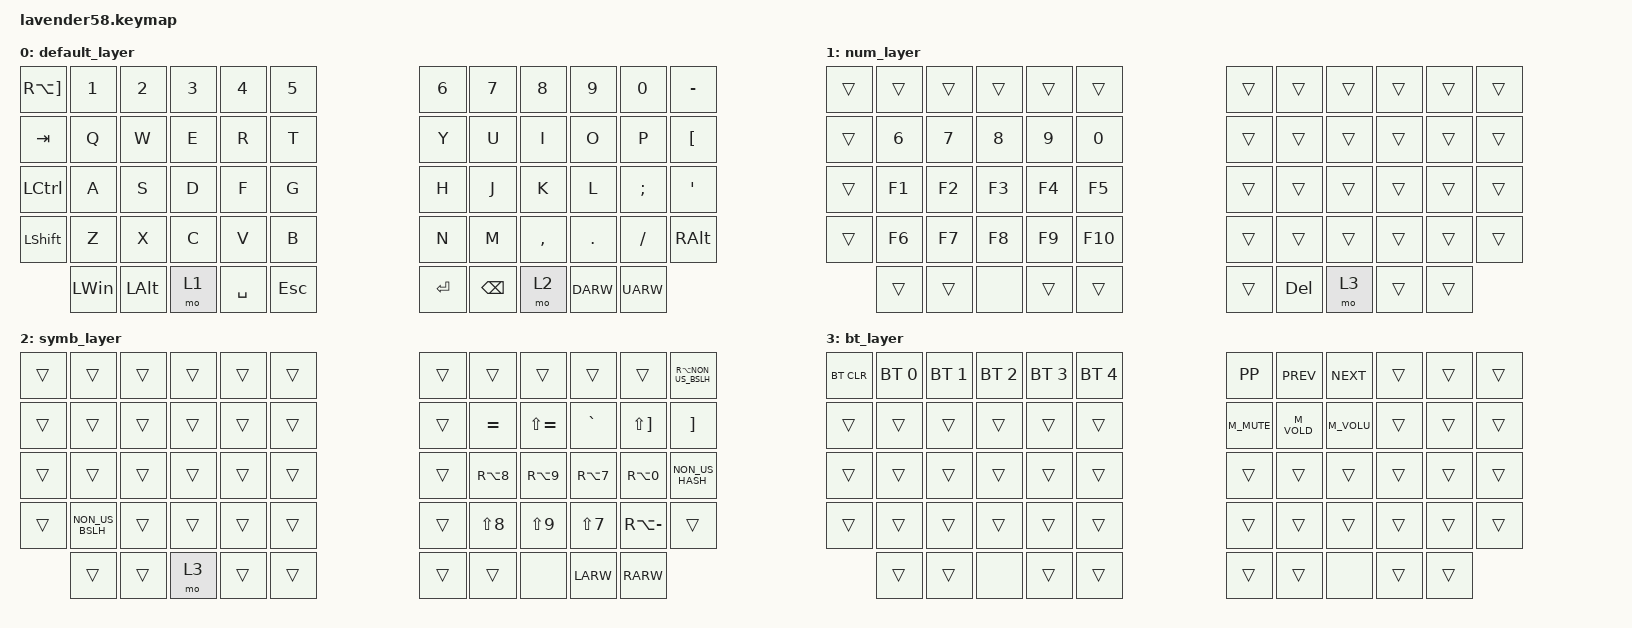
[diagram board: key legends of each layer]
/*
 * Copyright (c) 2020 The ZMK Contributors
 *
 * SPDX-License-Identifier: MIT
 */

#include <behaviors.dtsi>
#include <dt-bindings/zmk/keys.h>
#include <dt-bindings/zmk/bt.h>
#include <dt-bindings/zmk/ext_power.h>

/ {
	keymap {
		compatible = "zmk,keymap";

		default_layer {
			bindings = <
&kp RA(RBKT) &kp N1   &kp N2   &kp N3 &kp N4    &kp N5                  &kp N6  &kp N7   &kp N8    &kp N9   &kp N0   &kp MINUS
&kp TAB      &kp Q    &kp W    &kp E  &kp R     &kp T                   &kp Y   &kp U    &kp I     &kp O    &kp P    &kp LBKT
&kp LCTRL    &kp A    &kp S    &kp D  &kp F     &kp G                   &kp H   &kp J    &kp K     &kp L    &kp SEMI &kp SINGLE_QUOTE
&kp LSHFT    &kp Z    &kp X    &kp C  &kp V     &kp B                   &kp N   &kp M    &kp COMMA &kp DOT  &kp FSLH &kp RALT
             &kp LWIN &kp LALT &mo 1  &kp SPACE &kp ESC                 &kp RET &kp BSPC &mo 2     &kp DARW &kp UARW
			>;
		};

		num_layer {
			bindings = <
&trans &trans &trans  &trans &trans &trans               &trans &trans  &trans &trans &trans &trans
&trans &kp N6 &kp N7  &kp N8 &kp N9 &kp N0               &trans &trans  &trans &trans &trans &trans
&trans &kp F1 &kp F2  &kp F3 &kp F4 &kp F5               &trans &trans  &trans &trans &trans &trans
&trans &kp F6 &kp F7  &kp F8 &kp F9 &kp F10              &trans &trans  &trans &trans &trans &trans
       &trans &trans  &none  &trans &trans               &trans &kp DEL &mo 3  &trans &trans
			>;
		};

		symb_layer {
			bindings = <
&trans  &trans          &trans &trans &trans &trans                    &trans &trans     &trans        &trans     &trans        &kp RA(NON_US_BSLH)
&trans  &trans          &trans &trans &trans &trans                    &trans &kp EQUAL  &kp LS(EQUAL) &kp GRAV   &kp LS(RBKT)  &kp RBKT
&trans  &trans          &trans &trans &trans &trans                    &trans &kp RA(N8) &kp RA(N9)    &kp RA(N7) &kp RA(N0)    &kp NON_US_HASH
&trans  &kp NON_US_BSLH &trans &trans &trans &trans                    &trans &kp LS(N8) &kp LS(N9)    &kp LS(N7) &kp RA(MINUS) &trans
        &trans          &trans &mo 3  &trans &trans                    &trans &trans     &none         &kp LARW   &kp RARW
			>;
		};

		bt_layer {
			bindings = <
&bt BT_CLR &bt BT_SEL 0 &bt BT_SEL 1 &bt BT_SEL 2 &bt BT_SEL 3 &bt BT_SEL 4       &kp K_PP   &kp K_PREV &kp K_NEXT &trans &trans &trans
&trans     &trans       &trans       &trans       &trans       &trans             &kp M_MUTE &kp M_VOLD &kp M_VOLU &trans &trans &trans
&trans     &trans       &trans       &trans       &trans       &trans             &trans     &trans     &trans     &trans &trans &trans
&trans     &trans       &trans       &trans       &trans       &trans             &trans     &trans     &trans     &trans &trans &trans
           &trans       &trans       &none        &trans       &trans             &trans     &trans     &none      &trans &trans
			>;
		};

	};
};
